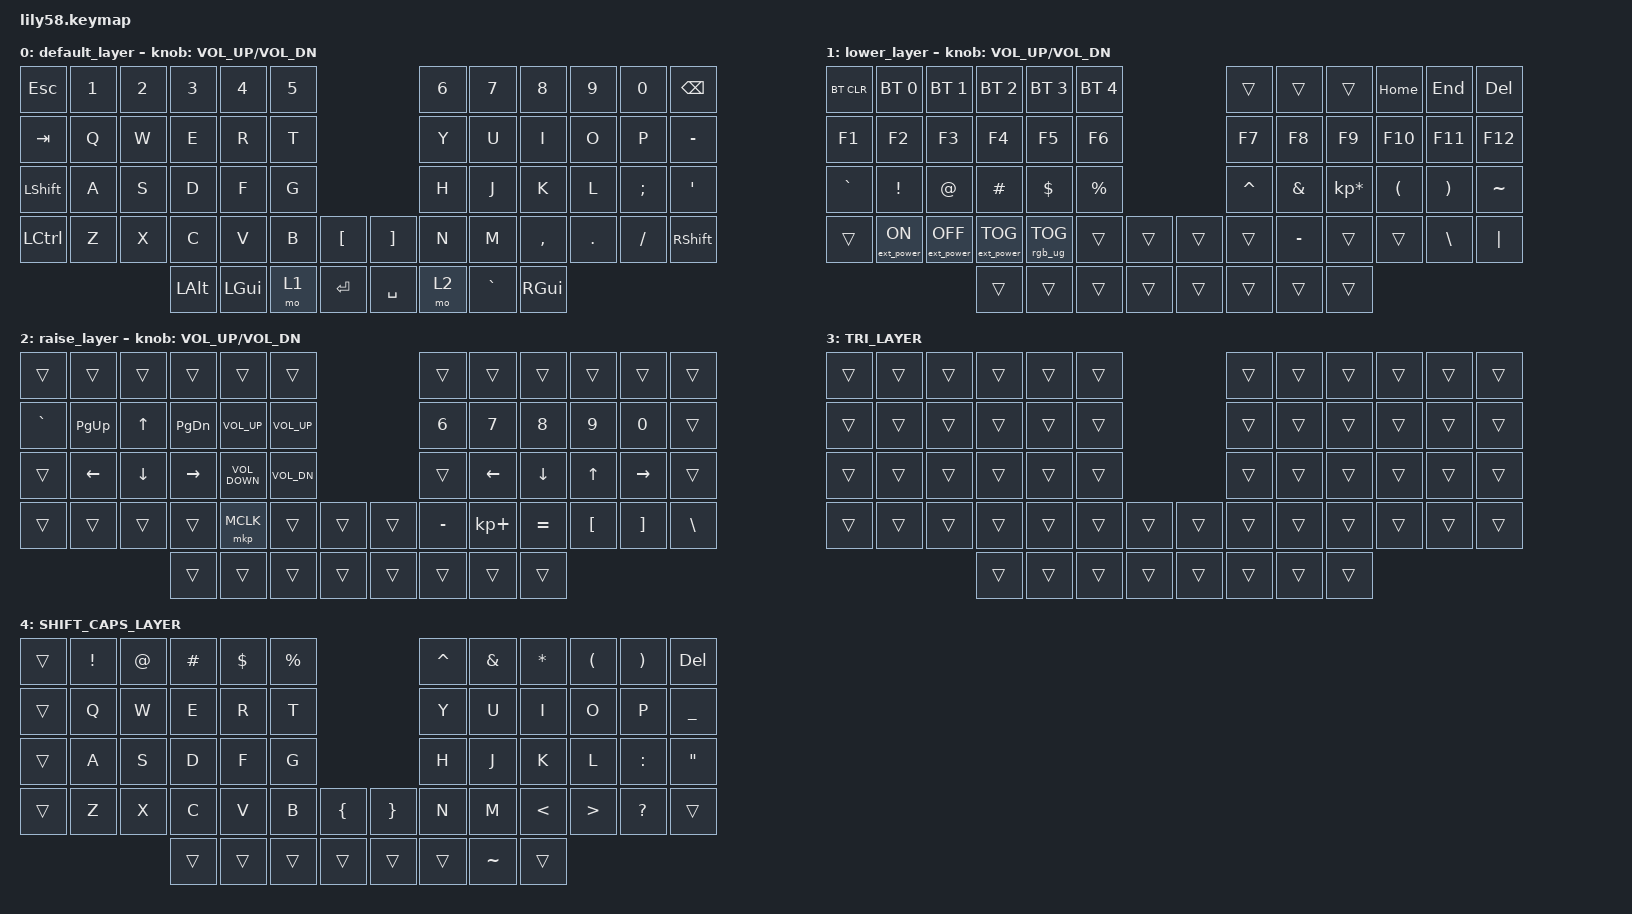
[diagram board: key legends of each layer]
/*
 * Copyright (c) 2020 The ZMK Contributors
 *
 * SPDX-License-Identifier: MIT
 */

#include <behaviors.dtsi>
#include <dt-bindings/zmk/bt.h>
#include <dt-bindings/zmk/ext_power.h>
#include <dt-bindings/zmk/keys.h>
#include <dt-bindings/zmk/mouse.h>
#include <dt-bindings/zmk/rgb.h>

/ {
    behaviors {
        tap_dance_shift: tap_dance_shift {
            compatible = "zmk,behavior-tap-dance";
            label = "TAP_DANCE_SHIFT";
            #binding-cells = <0>;
            bindings = <&kp LEFT_SHIFT>, <&kp LEFT_SHIFT>;

            tapping-term-ms = <200>;
        };
    };

    keymap {
        compatible = "zmk,keymap";

        default_layer {
            // ------------------------------------------------------------------------------------------------------------
            // |  ESC  |  1  |  2  |  3   |  4   |  5   |                   |  6   |  7    |  8    |  9   |   0   |  BSPC  |
            // |  TAB  |  Q  |  W  |  E   |  R   |  T   |                   |  Y   |  U    |  I    |  O   |   P   |   -    |
            // |  CTRL |  A  |  S  |  D   |  F   |  G   |                   |  H   |  J    |  K    |  L   |   ;   |   '    |
            // | SHIFT |  Z  |  X  |  C   |  V   |  B   |   "["  |  |  "]"  |  N   |  M    |  ,    |  .   |   /   | SHIFT  |
            //                     | ALT  | GUI  | LOWER|  ENTER |  | SPACE | RAISE|  `    | GUI   |

            bindings = <
&kp ESC     &kp N1  &kp N2  &kp N3    &kp N4    &kp N5                         &kp N6  &kp N7     &kp N8     &kp N9   &kp N0    &kp BSPC
&kp TAB     &kp Q   &kp W   &kp E     &kp R     &kp T                          &kp Y   &kp U      &kp I      &kp O    &kp P     &kp MINUS
&kp LSHIFT  &kp A   &kp S   &kp D     &kp F     &kp G                          &kp H   &kp J      &kp K      &kp L    &kp SEMI  &kp SQT
&kp LCTRL   &kp Z   &kp X   &kp C     &kp V     &kp B   &kp LBKT    &kp RBKT   &kp N   &kp M      &kp COMMA  &kp DOT  &kp FSLH  &kp RSHFT
                            &kp LALT  &kp LGUI  &mo 1   &kp RET     &kp SPACE  &mo 2   &kp GRAVE  &kp RGUI
            >;

            sensor-bindings = <&inc_dec_kp C_VOL_UP C_VOL_DN>;
        };

        lower_layer {
            // ------------------------------------------------------------------------------------------------------------
            // | BTCLR | BT1 | BT2 |  BT3 |  BT4 |  BT5 |                   |      |       |       |      |       |       |
            // |  F1   |  F2 |  F3 |  F4  |  F5  |  F6  |                   |  F7  |  F8   |  F9   |  F10 |  F11  |  F12  |
            // |   `   |  !  |  @  |  #   |  $   |  %   |                   |  ^   |  &    |  *    |  (   |   )   |   ~   |
            // |       |     |     |      |      |      |        |  |       |      |  _    |  +    |  {   |   }   |  "|"  |
            //                     |      |      |      |        |  |       |      |       |       |

            bindings = <
&bt BT_CLR  &bt BT_SEL 0      &bt BT_SEL 1       &bt BT_SEL 2       &bt BT_SEL 3     &bt BT_SEL 4                    &trans     &trans     &trans           &kp HOME  &kp END        &kp DEL
&kp F1      &kp F2            &kp F3             &kp F4             &kp F5           &kp F6                          &kp F7     &kp F8     &kp F9           &kp F10   &kp F11        &kp F12
&kp GRAVE   &kp EXCL          &kp AT             &kp HASH           &kp DOLLAR       &kp PRCNT                       &kp CARET  &kp AMPS   &kp KP_MULTIPLY  &kp LPAR  &kp RPAR       &kp TILDE
&trans      &ext_power EP_ON  &ext_power EP_OFF  &ext_power EP_TOG  &rgb_ug RGB_TOG  &trans        &trans    &trans  &trans     &kp MINUS  &trans           &trans    &kp BACKSLASH  &kp PIPE
                                                 &trans             &trans           &trans        &trans    &trans  &trans     &trans     &trans
            >;

            sensor-bindings = <&inc_dec_kp C_VOL_UP C_VOL_DN>;
        };

        raise_layer {
            // ------------------------------------------------------------------------------------------------------------
            // |       |     |     |      |      |      |                   |      |       |       |      |       |       |
            // |   `   |  1  |  2  |  3   |  4   |  5   |                   |  6   |   7   |   8   |  9   |   0   |       |
            // |   F1  |  F2 |  F3 |  F4  |  F5  |  F6  |                   |      |   <-  |   v   |  ^   |  ->   |       |
            // |   F7  |  F8 |  F9 |  F10 |  F11 |  F12 |        |  |       |  +   |   -   |   =   |  [   |   ]   |   \   |
            //                     |      |      |      |        |  |       |      |       |       |

            bindings = <
&trans     &trans          &trans          &trans           &trans             &trans                          &trans     &trans       &trans     &trans    &trans     &trans
&kp GRAVE  &kp PAGE_UP     &kp UP_ARROW    &kp PAGE_DOWN    &kp K_VOLUME_UP    &kp C_VOL_UP                    &kp N6     &kp N7       &kp N8     &kp N9    &kp N0     &trans
&trans     &kp LEFT_ARROW  &kp DOWN_ARROW  &kp RIGHT_ARROW  &kp K_VOLUME_DOWN  &kp C_VOL_DN                    &trans     &kp LEFT     &kp DOWN   &kp UP    &kp RIGHT  &trans
&trans     &trans          &trans          &trans           &mkp MCLK          &trans        &trans    &trans  &kp MINUS  &kp KP_PLUS  &kp EQUAL  &kp LBKT  &kp RBKT   &kp BSLH
                                           &trans           &trans             &trans        &trans    &trans  &trans     &trans       &trans
            >;

            sensor-bindings = <&inc_dec_kp C_VOL_UP C_VOL_DN>;
        };

        TRI_LAYER {
            bindings = <
&trans  &trans  &trans  &trans  &trans  &trans                    &trans  &trans  &trans  &trans  &trans  &trans
&trans  &trans  &trans  &trans  &trans  &trans                    &trans  &trans  &trans  &trans  &trans  &trans
&trans  &trans  &trans  &trans  &trans  &trans                    &trans  &trans  &trans  &trans  &trans  &trans
&trans  &trans  &trans  &trans  &trans  &trans  &trans    &trans  &trans  &trans  &trans  &trans  &trans  &trans
                        &trans  &trans  &trans  &trans    &trans  &trans  &trans  &trans
            >;
        };

        SHIFT_CAPS_LAYER {
            bindings = <
&trans  &kp EXCLAMATION  &kp AT  &kp HASH  &kp DOLLAR  &kp PERCENT                                     &kp CARET  &kp AMPS   &kp ASTRK      &kp LEFT_PARENTHESIS  &kp RIGHT_PARENTHESIS  &kp DEL
&trans  &kp Q            &kp W   &kp E     &kp R       &kp T                                           &kp Y      &kp U      &kp I          &kp O                 &kp P                  &kp UNDER
&trans  &kp A            &kp S   &kp D     &kp F       &kp G                                           &kp H      &kp J      &kp K          &kp L                 &kp COLON              &kp DOUBLE_QUOTES
&trans  &kp Z            &kp X   &kp C     &kp V       &kp B        &kp LEFT_BRACE    &kp RIGHT_BRACE  &kp N      &kp M      &kp LESS_THAN  &kp GREATER_THAN      &kp QUESTION           &trans
                                 &trans    &trans      &trans       &trans            &trans           &trans     &kp TILDE  &trans
            >;
        };
    };
};
